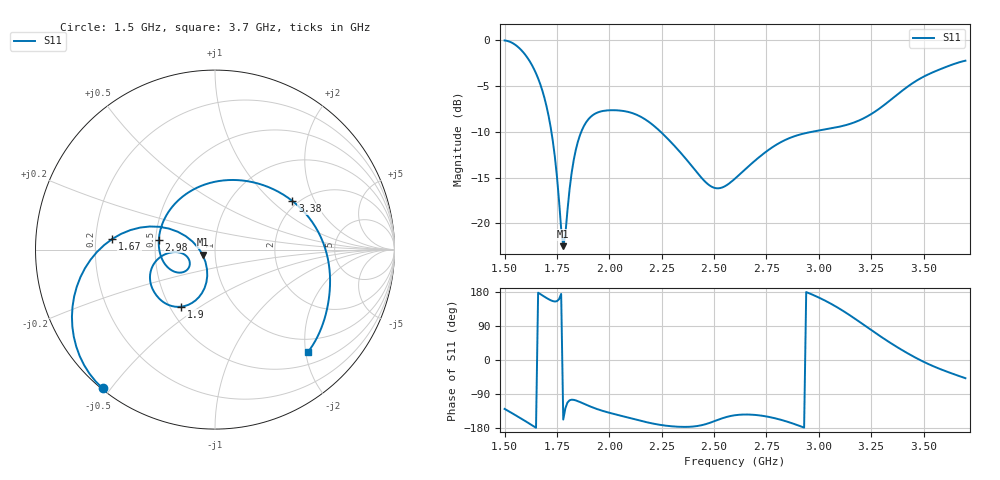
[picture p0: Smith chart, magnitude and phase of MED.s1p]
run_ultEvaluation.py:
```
"""
Optimisation Result Evaluation
------------------------------
Evaluate the optimised solution (result_v1.npy) against the reference:
  1. S-parameter comparison: optimised S11 vs MED.s1p reference.
  2. 3D model comparison: before (A_Original.stl) vs after (D_Final.stl).

Usage:
    python run_evaluation.py
"""

import os
import sys
import numpy as np
import matplotlib.pyplot as plt
import skrf as rf

from lib.utils import load_threshold_from_s1p

# Ensure the project root is on sys.path
ROOT = os.path.dirname(os.path.abspath(__file__))
if ROOT not in sys.path:
    sys.path.insert(0, ROOT)

# ===========================================================================
# 1. Paths
# ===========================================================================
DATA   = os.path.join(ROOT, 'data')
OUTPUT = os.path.join(ROOT, 'output')

xresult = 'result_v1.npy'
# xresult = 'my_result.npy'
result_path    = os.path.join(OUTPUT, 'MultiportResult', xresult)
sNp_path       = os.path.join(DATA, 'sNpdata', 'multiport_sNp.s501p')
med_s1p_path   = os.path.join(DATA, 'sNpdata', 'MED.s1p')
stl_before_path = os.path.join(DATA, 'modeldata', 'A_Original.stl')
stl_after_path  = os.path.join(DATA, 'modeldata', 'D_Final.stl')

# ===========================================================================
# 2. Load data
# ===========================================================================
print('=' * 60)
print('Loading data...')

# Optimised switch states
best_x = np.load(result_path).astype(int)
print(f'  Loaded solution: {len(best_x)} switch variables')

# Z-parameters
network  = rf.Network(sNp_path)
z_params = network.z      # (num_freqs, num_ports, num_ports), complex
freq     = network.f      # Hz
port_num = z_params.shape[1]
n_freqs  = len(freq)

# Replicate switch states ×4 (symmetry sectors), same as during optimisation
x_all = np.tile(best_x, 4)
print(f'  Ports: {port_num},  Freq points: {n_freqs}')
print(f'  Frequency range: {freq[0]/1e9:.2f} – {freq[-1]/1e9:.2f} GHz')

# Reference S11 from MED.s1p
ref_s11 = load_threshold_from_s1p(med_s1p_path, freq)

# ===========================================================================
# 3. Compute optimised S11
# ===========================================================================
print('Computing optimised S11...')

# Build ZL diagonal: 0→short(1e-6Ω), 1→open(1e6Ω)
x_mapped = np.where(x_all == 1, 1e6, 1e-6).astype(np.complex128)
ZL_diag = np.diag(x_mapped)  # (P-1, P-1)

S11_opt = np.zeros(n_freqs, dtype=np.complex128)

for i in range(n_freqs):
    z_f = z_params[i]                    # (ports, ports)
    Z00 = z_f[0, 0]                      # scalar
    Z0A = z_f[0, 1:].reshape(1, -1)      # (1, P-1)
    ZA0 = z_f[1:, 0].reshape(-1, 1)      # (P-1, 1)
    ZAA = z_f[1:, 1:]                    # (P-1, P-1)

    # Solve (ZAA + ZL) @ temp = ZA0
    Mat = ZAA + ZL_diag
    temp = np.linalg.solve(Mat, ZA0)     # (P-1, 1)

    # Z11 = Z00 - Z0A @ temp
    Z11 = Z00 - (Z0A @ temp)[0, 0]

    S11_opt[i] = (Z11 - 50.0) / (Z11 + 50.0)

S11_opt_dB = 20 * np.log10(np.abs(S11_opt) + 1e-12)

# ===========================================================================
# 4. S-Parameter Comparison Plot
# ===========================================================================
print('Plotting S-parameter comparison...')

freq_ghz = freq / 1e9

fig, ax = plt.subplots(1, 1, figsize=(10, 5.5))
fig.suptitle('Optimised S11 vs MED Reference', fontsize=14, fontweight='bold')

ax.plot(freq_ghz, ref_s11, 'k-', linewidth=2.0, label='MED.s1p (Reference)')
ax.plot(freq_ghz, S11_opt_dB, 'r-', linewidth=1.5, label='Optimised S11')
ax.axhline(y=-10, color='gray', linestyle=':', linewidth=1, label='−10 dB threshold')

# Highlight target band [1.8 – 2.8] GHz
ax.axvspan(1.8, 2.8, color='lightgreen', alpha=0.12)

ax.set_xlabel('Frequency (GHz)')
ax.set_ylabel('S11 (dB)')
ax.legend(loc='lower right')
ax.grid(True, alpha=0.3)
ax.set_ylim(bottom=-40)

plt.tight_layout()

# Save figure
eval_dir = os.path.join(OUTPUT, 'MultiportResult')
os.makedirs(eval_dir, exist_ok=True)
s11_plot_path = os.path.join(eval_dir, 'S11_comparison.png')
fig.savefig(s11_plot_path, dpi=150, bbox_inches='tight')
print(f'  S11 comparison saved to: {s11_plot_path}')

# ===========================================================================
# 5. Print summary statistics
# ===========================================================================
print()
print('=' * 60)
print('S11 Summary (Target Band: 1.8 – 2.8 GHz)')
print('-' * 60)

band_mask = (freq >= 1.8e9) & (freq <= 2.8e9)
opt_band = S11_opt_dB[band_mask]
ref_band = ref_s11[band_mask]

print(f'  Optimised S11 — Max: {np.max(opt_band):.2f} dB,  '
      f'Min: {np.min(opt_band):.2f} dB,  '
      f'Mean: {np.mean(opt_band):.2f} dB')
print(f'  MED Ref S11  — Max: {np.max(ref_band):.2f} dB,  '
      f'Min: {np.min(ref_band):.2f} dB,  '
      f'Mean: {np.mean(ref_band):.2f} dB')

# Count violations (where S11 > -10 dB)
opt_violations = np.sum(opt_band > -10)
ref_violations = np.sum(ref_band > -10)
print(f'  Points above −10 dB — Optimised: {opt_violations},  '
      f'Reference: {ref_violations}  (of {len(opt_band)} total)')

# ===========================================================================
# 6. 3D Model Comparison (VTK + PyQt5)
# ===========================================================================
print()
print('Launching 3D model viewer (before vs after)...')

# Lazy imports — only imported if VTK/PyQt6 are available
try:
    from PyQt6.QtWidgets import (QApplication, QMainWindow, QWidget,
                                 QHBoxLayout, QVBoxLayout, QLabel)
    import vtk
    from vtk.qt.QVTKRenderWindowInteractor import QVTKRenderWindowInteractor
except ImportError as e:
    print(f'  [SKIP] 3D viewer requires PyQt6 + VTK: {e}')
    print(f'  S11 comparison plot is still available at: {s11_plot_path}')
    plt.show()   # still show the S11 plot
    sys.exit(0)


class STLViewer(QWidget):
    """Single STL viewer panel — adapted from g_SeeModel.py."""

    def __init__(self, split_ratio=0.2):
        super().__init__()
        self.split_ratio = split_ratio
        self.setup_ui()

    def setup_ui(self):
        layout = QVBoxLayout(self)
        layout.setContentsMargins(0, 0, 0, 0)

        self.vtk_widget = QVTKRenderWindowInteractor(self)
        self.renderer = vtk.vtkRenderer()
        self.vtk_widget.GetRenderWindow().AddRenderer(self.renderer)

        # White background
        self.renderer.SetBackground(1.0, 1.0, 1.0)
        self.renderer.SetGradientBackground(False)

        self.interactor = self.vtk_widget.GetRenderWindow().GetInteractor()
        self.interactor_style = vtk.vtkInteractorStyleTrackballCamera()
        self.interactor.SetInteractorStyle(self.interactor_style)

        self._setup_lights()
        layout.addWidget(self.vtk_widget)

    def _setup_lights(self):
        self.renderer.RemoveAllLights()

        ambient = vtk.vtkLight()
        ambient.SetLightTypeToHeadlight()
        ambient.SetIntensity(0.3)
        ambient.SetColor(1, 1, 1)
        self.renderer.AddLight(ambient)

        light1 = vtk.vtkLight()
        light1.SetPosition(-45, 45, 60)
        light1.SetFocalPoint(0, 0, 0)
        light1.SetIntensity(0.7)
        light1.SetColor(1.0, 0.95, 0.85)
        self.renderer.AddLight(light1)

        light2 = vtk.vtkLight()
        light2.SetPosition(-0.8, 0.0, 0)
        light2.SetFocalPoint(0, 0, 0)
        light2.SetIntensity(0.5)
        light2.SetColor(0.8, 0.88, 1.0)
        self.renderer.AddLight(light2)

    def load_stl(self, stl_file_path):
        """Load STL, split into bottom/base and top/patch with colour coding."""
        self.renderer.RemoveAllViewProps()
        self._setup_lights()

        if not os.path.exists(stl_file_path):
            return False

        try:
            reader = vtk.vtkSTLReader()
            reader.SetFileName(stl_file_path)
            reader.Update()
            poly_data = reader.GetOutput()

            bounds = poly_data.GetBounds()
            zmin, zmax = bounds[4], bounds[5]
            threshold_z = zmin + (zmax - zmin) * self.split_ratio

            plane = vtk.vtkPlane()
            plane.SetOrigin(0, 0, threshold_z)
            plane.SetNormal(0, 0, 1)

            clipper = vtk.vtkClipPolyData()
            clipper.SetInputData(poly_data)
            clipper.SetClipFunction(plane)
            clipper.GenerateClippedOutputOn()
            clipper.Update()

            bottom_poly = clipper.GetClippedOutput()
            top_poly = clipper.GetOutput()

            def add_normals(poly):
                normals = vtk.vtkPolyDataNormals()
                normals.SetInputData(poly)
                normals.SetFeatureAngle(45)
                normals.ComputePointNormalsOn()
                normals.ComputeCellNormalsOn()
                normals.Update()
                return normals.GetOutput()

            bottom_smooth = add_normals(bottom_poly)
            top_smooth = add_normals(top_poly)

            def extract_edges(poly):
                edges = vtk.vtkFeatureEdges()
                edges.SetInputData(poly)
                edges.BoundaryEdgesOn()
                edges.FeatureEdgesOn()
                edges.NonManifoldEdgesOn()
                edges.ManifoldEdgesOff()
                edges.SetFeatureAngle(30)
                edges.Update()
                return edges.GetOutput()

            bottom_edges = extract_edges(bottom_smooth)
            top_edges = extract_edges(top_smooth)

            def create_actor(poly, color, specular_power=128, specular_intensity=0.8):
                mapper = vtk.vtkPolyDataMapper()
                mapper.SetInputData(poly)
                actor = vtk.vtkActor()
                actor.SetMapper(mapper)
                actor.GetProperty().SetColor(*color)
                actor.GetProperty().SetAmbient(0.2)
                actor.GetProperty().SetDiffuse(0.7)
                actor.GetProperty().SetSpecular(specular_intensity)
                actor.GetProperty().SetSpecularPower(specular_power)
                actor.GetProperty().SetInterpolationToPhong()
                return actor

            def create_edge_actor(edges, line_width=1.5):
                mapper = vtk.vtkPolyDataMapper()
                mapper.SetInputData(edges)
                actor = vtk.vtkActor()
                actor.SetMapper(mapper)
                actor.GetProperty().SetColor(0.5, 0.5, 0.5)
                actor.GetProperty().SetLineWidth(line_width)
                return actor

            # Bottom: dark yellow metal  |  Top: light yellow
            actor_bottom = create_actor(bottom_smooth, color=(0.5, 0.5, 0.3),
                                        specular_power=96, specular_intensity=0.7)
            actor_top = create_actor(top_smooth, color=(1.0, 1.0, 0.5),
                                     specular_power=128, specular_intensity=0.6)

            edge_bottom = create_edge_actor(bottom_edges)
            edge_top = create_edge_actor(top_edges)

            self.renderer.AddActor(actor_bottom)
            self.renderer.AddActor(actor_top)
            self.renderer.AddActor(edge_bottom)
            self.renderer.AddActor(edge_top)

            self.renderer.ResetCamera()
            self.vtk_widget.GetRenderWindow().Render()
            return True

        except Exception as e:
            print(f'  STL load error: {e}')
            return False


class MainWindow(QMainWindow):
    """Side-by-side comparison: original (before) vs optimised (after)."""

    def __init__(self, stl_before, stl_after):
        super().__init__()
        self.setWindowTitle('Antenna Model Comparison — Before vs After Optimisation')
        self.resize(1200, 600)

        central = QWidget()
        self.setCentralWidget(central)
        main_layout = QVBoxLayout(central)
        main_layout.setContentsMargins(5, 5, 5, 5)

        # Side-by-side viewers
        viewers_layout = QHBoxLayout()

        # Left: Before
        left_container = QVBoxLayout()
        lbl_before = QLabel('A_Original.stl  (Before Optimisation)')
        lbl_before.setStyleSheet('font-weight: bold; font-size: 12pt;')
        left_container.addWidget(lbl_before)
        self.viewer_before = STLViewer(split_ratio=0.2)
        left_container.addWidget(self.viewer_before)
        viewers_layout.addLayout(left_container)

        # Right: After
        right_container = QVBoxLayout()
        lbl_after = QLabel('D_Final.stl  (After Optimisation)')
        lbl_after.setStyleSheet('font-weight: bold; font-size: 12pt;')
        right_container.addWidget(lbl_after)
        self.viewer_after = STLViewer(split_ratio=0.2)
        right_container.addWidget(self.viewer_after)
        viewers_layout.addLayout(right_container)

        main_layout.addLayout(viewers_layout)

        # Defer STL loading until after the window is shown —
        # otherwise both VTK widgets fight over the OpenGL context.
        self.stl_before = stl_before
        self.stl_after = stl_after

    def showEvent(self, event):
        """Load STL models once the window is visible and OpenGL is ready."""
        super().showEvent(event)
        if not hasattr(self, '_models_loaded'):
            self._models_loaded = True
            from PyQt6.QtCore import QTimer
            QTimer.singleShot(100, self._load_models)

    def _load_models(self):
        if os.path.exists(self.stl_before):
            self.viewer_before.load_stl(self.stl_before)
        else:
            print(f'  [WARN] Before model not found: {self.stl_before}')

        if os.path.exists(self.stl_after):
            self.viewer_after.load_stl(self.stl_after)
        else:
            print(f'  [WARN] After model not found: {self.stl_after}')


# ===========================================================================
# 7. Launch
# ===========================================================================
if __name__ == '__main__':
    # Show S11 plot (non-blocking)
    plt.show(block=False)

    # Launch 3D viewer
    app = QApplication(sys.argv)
    window = MainWindow(stl_before_path, stl_after_path)
    window.show()
    sys.exit(app.exec())
```
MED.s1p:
! TOUCHSTONE file generated by CST MICROWAVE STUDIO
! Date and time: Mon Jan 19 13:48:54 2026
! Project name: MED_opt.cst
! Parameters = {G=5; H=21; L=30; SMAh=5; W=65; Wm=3; gth=1.5; gw=150; pth=0.04; q=5; r_in=0.4; r_out=0.8; reh=3; s_r=0.6; sh=1.2; sph=1.3}
! Header version: 2024
! Port assignment regex: !\s*Touchstone port\s*([0-9]+)\s*=\s*(CST MWS port|CST DES external port|CST DES block port)\s*(.+)\s* \(\"(.*)\"\)(\s*mode\s*([0-9]+))?.*
! Touchstone port assignment:
! Touchstone port 1 = CST MWS port 1 ("")
# GHz S MA R 50
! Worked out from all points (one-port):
!   221 points, 1.5 GHz to 3.7 GHz, reference 50 ohm
!   lowest |S11| = -22.5 dB at 1.78 GHz (marker M1), VSWR 1.16, Z = 43.5 - j2.54 ohm
!   |S11| at or under -10 dB: 1.723 GHz to 1.866 GHz (143.1 MHz wide, 7.97 % of centre); 2.244 GHz to 2.97 GHz (725.5 MHz wide, 27.8 % of centre)
!   S11 on the Smith chart (normalised r, x): 1.5 GHz: 0.00, -0.48; 1.67 GHz: 0.27, +0.05; 1.9 GHz: 0.57, -0.42; 2.98 GHz: 0.52, +0.06; 3.38 GHz: 1.87, +1.37; 3.7 GHz: 0.72, -2.04
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1.5  0.9944 -129.1
1.58  0.8801 -154.9
1.67  0.575 174.0
1.73  0.282 155.5
1.78  0.07508 -157.2
1.83  0.2216 -105.2
1.9  0.3696 -120.6
2.24  0.3197 -170.9
2.52  0.1553 -157.6
2.97  0.3162 172.3
2.98  0.3178 169.9
3.22  0.377 90.8
3.38  0.5094 32.1
3.7  0.7713 -48.0
